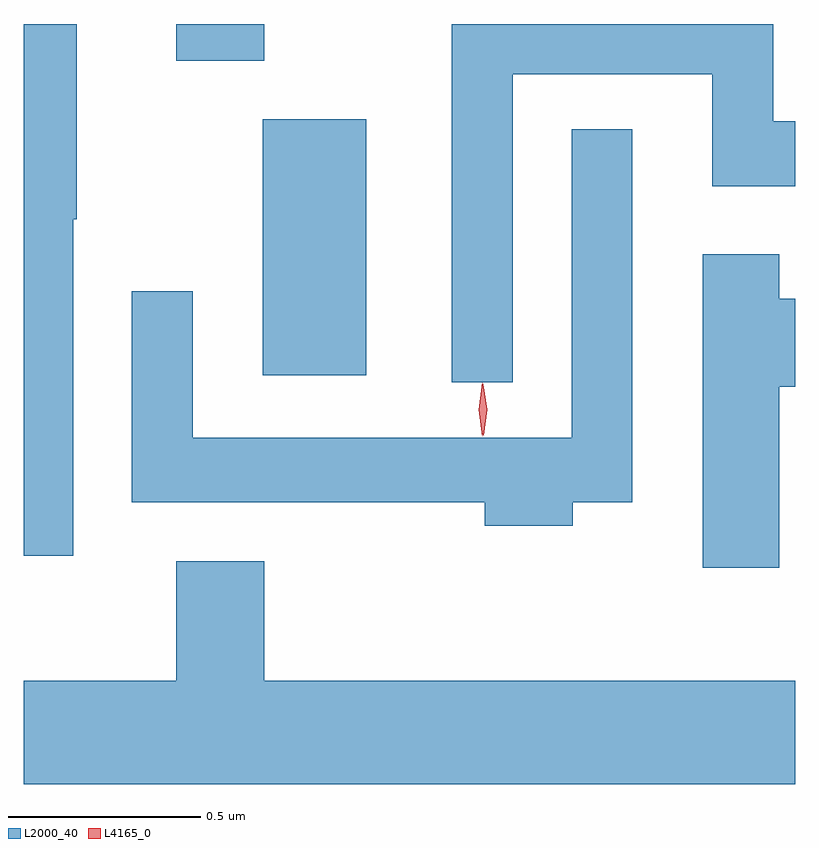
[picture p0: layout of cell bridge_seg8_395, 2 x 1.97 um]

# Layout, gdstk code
import gdstk
lib = gdstk.Library(unit=1e-6, precision=1e-09)
def R(c, l, rs):  # rectangles x0, y0, x1, y1
    for r in rs: c.add(gdstk.rectangle(r[:2], r[2:], *l))
def P(c, l, *ps):  # polygons
    for p in ps: c.add(gdstk.Polygon(p, *l))
L2000_40 = (2000, 40)
L4165_0 = (4165, 0)

bridge_seg8_395 = lib.new_cell('bridge_seg8_395')
R(bridge_seg8_395, L2000_40, [(716.616,1917.396,716.884,1918.059), (716.391,1918.211,716.619,1918.306)])
P(bridge_seg8_395, L2000_40, [(717.264,1918.176),(717.781,1918.176),(717.781,1917.886),(717.996,1917.886),(717.996,1918.054),(717.939,1918.054),(717.939,1918.306),(717.106,1918.306),(717.106,1917.378),(717.264,1917.378)],
  [(716.124,1917.8),(716.134,1917.8),(716.134,1918.306),(715.996,1918.306),(715.996,1916.928),(716.124,1916.928)],
  [(717.419,1917.066),(717.574,1917.066),(717.574,1918.033),(717.416,1918.033),(717.416,1917.234),(716.434,1917.234),(716.434,1917.613),(716.276,1917.613),(716.276,1917.066),(717.191,1917.066),(717.191,1917.006),(717.419,1917.006)],
  [(717.954,1917.366),(717.996,1917.366),(717.996,1917.594),(717.954,1917.594),(717.954,1917.709),(717.756,1917.709),(717.756,1916.896),(717.954,1916.896)],
  [(717.996,1916.604),(716.619,1916.604),(716.619,1916.914),(716.391,1916.914),(716.391,1916.604),(715.996,1916.604),(715.996,1916.336),(717.996,1916.336)])
P(bridge_seg8_395, L4165_0, [(717.187,1917.24),(717.187,1917.24),(717.177,1917.306),(717.186,1917.372),(717.187,1917.373),(717.187,1917.372),(717.197,1917.306),(717.188,1917.24)],
  [(717.184,1917.237),(717.175,1917.306),(717.184,1917.376),(717.185,1917.376),(717.185,1917.376),(717.195,1917.306),(717.185,1917.237),(717.185,1917.237)])

lib.write_gds('bridge_seg8_395.gds')
